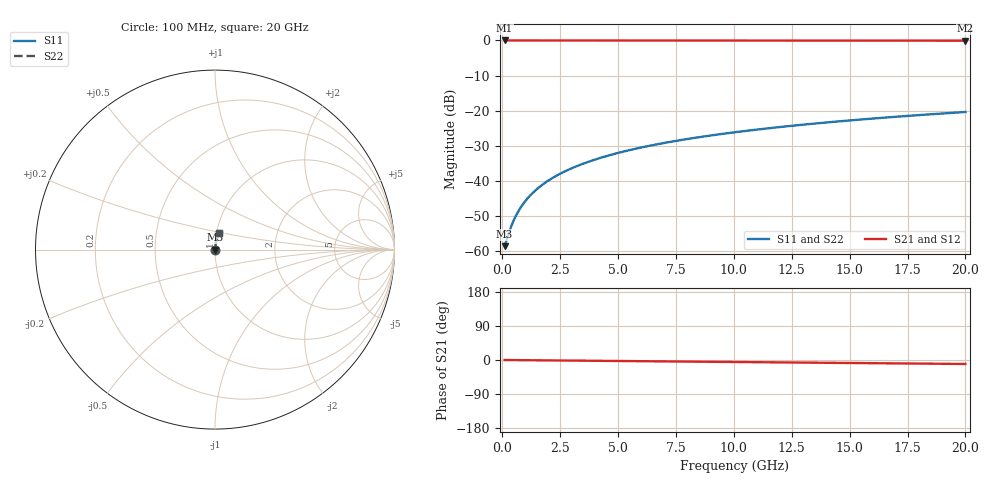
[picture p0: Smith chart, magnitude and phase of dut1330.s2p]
! Touchstone file exported from HFSS 2026.1.0
!  File:  C:/ffzhzh/LocalFiles/Ansys_Project_Files/temp_train_TSV_1330_1783195346_43440.aedt
!  Generated:  04:04:50 AM Jul  5, 2026
!  Design:  TSV
!  Project:  temp_train_TSV_1330_1783195346_43440
! Variables:
!  h_bsmrdl = 2um
!  h_ox = 20um
!  h_rdl = 5um
!  h_sub = 91.69um
!  h_tmrdl = 5um
!  h_tsv = 91.69um
!  h_via = 3um
!  l_bsmrdl = 300um
!  l_sub = 406.34um
!  l_tmrdl = 200um
!  m_sub = 200um
!  pitch = 33.58um
!  r_tsv = 3.17um
!  s_tmrdl = 10um
!  w_bsmrdl = 18um
!  w_sub = 500um
!  w_tmrdl = 12um
!  x_tsv_center1 = 206um
!  x_tsv_center2 = 524um
!  x_tsv_center3 = 736um
!  x_tsv_center4 = 1054um
!  x_tsv_center5 = 1266um
!  x_tsv_center6 = 1584um
# GHz S MA R 50.000000
! Terminal data exported
! Port[1] = TSV1_1_T1
! Port[2] = TSV1_1_T2
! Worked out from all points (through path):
!   200 points, 100 MHz to 20 GHz, reference 50 ohm
!   highest |S21| = -0.01 dB at 100 MHz (marker M1); lowest = -0.1 dB at 20 GHz (marker M2)
!   group delay of S21, straight-line fit = 1.45 ps
!   lowest |S11| = -58.5 dB at 100 MHz (marker M3), VSWR 1.00, Z = 50.1 + j0.052 ohm
!   |S11| at or under -10 dB: start of sweep to end of sweep
!   |S22| runs from -58.5 to -20.4 dB; largest |S21 - S12| = 4.8e-15
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0.1  0.001184 26.0  0.9989 -0.1  0.9989 -0.1  0.001184 26.0
! Gamma 0 0 0 0
! Port Impedance 50 0 50 0
0.3  0.001889 54.9  0.9989 -0.2  0.9989 -0.2  0.001889 54.9
0.4  0.002329 61.8  0.9989 -0.2  0.9989 -0.2  0.002329 61.8
0.5  0.002789 66.5  0.9989 -0.3  0.9989 -0.3  0.002789 66.5
0.6  0.003262 69.8  0.9989 -0.3  0.9989 -0.3  0.003262 69.8
0.7  0.003743 72.3  0.9989 -0.4  0.9989 -0.4  0.003743 72.3
0.9  0.004719 75.7  0.9989 -0.5  0.9989 -0.5  0.004719 75.7
1.2  0.006203 78.7  0.9988 -0.6  0.9988 -0.6  0.006203 78.7
1.4  0.007199 79.9  0.9988 -0.8  0.9988 -0.8  0.007199 79.9
1.7  0.008698 81.2  0.9988 -0.9  0.9988 -0.9  0.008698 81.2
2.2  0.0112 82.4  0.9987 -1.2  0.9987 -1.2  0.0112 82.4
2.8  0.0142 83.2  0.9986 -1.5  0.9986 -1.5  0.0142 83.2
3.5  0.01769 83.5  0.9984 -1.9  0.9984 -1.9  0.01769 83.5
4.2  0.02116 83.6  0.9982 -2.3  0.9982 -2.3  0.02116 83.6
5  0.0251 83.5  0.998 -2.7  0.998 -2.7  0.0251 83.5
5.9  0.0295 83.3  0.9977 -3.2  0.9977 -3.2  0.0295 83.3
6.8  0.03387 83.0  0.9974 -3.6  0.9974 -3.6  0.03387 83.0
8.3  0.04109 82.4  0.9969 -4.4  0.9969 -4.4  0.04109 82.4
10.1  0.04968 81.7  0.9962 -5.4  0.9962 -5.4  0.04968 81.7
13.4  0.06526 80.3  0.9949 -7.1  0.9949 -7.1  0.06526 80.3
16.7  0.08067 78.9  0.9934 -8.8  0.9934 -8.8  0.08067 78.9
20  0.09593 77.3  0.9917 -10.5  0.9917 -10.5  0.09593 77.3
